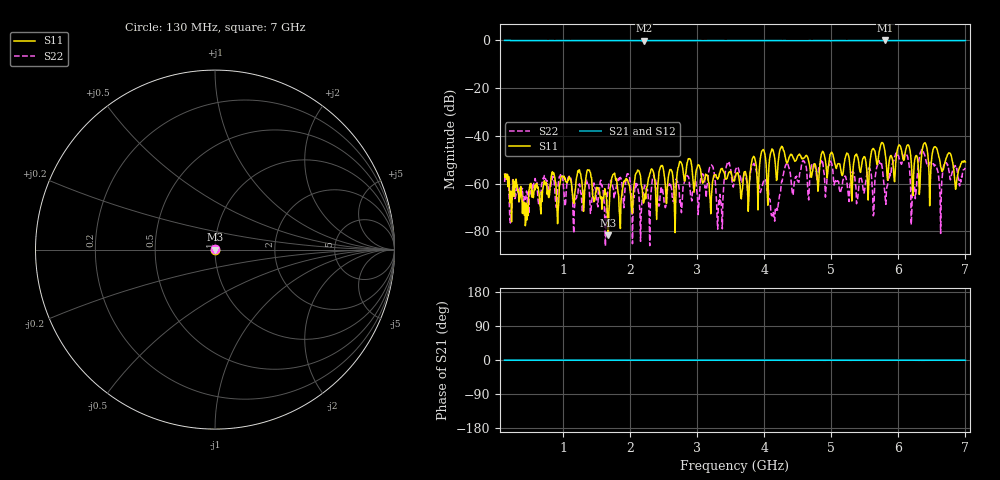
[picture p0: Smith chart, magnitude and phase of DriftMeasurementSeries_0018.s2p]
# Hz S RI R 50.000000
! Metas.Vna.Tools, 2.8.8664.20301
! Metas.Vna.Data, 2.8.8664.20285
! Created: UTC 2024.02.11 10:08:11
! FREQ  re:S1,1  im:S1,1  re:S2,1  im:S2,1  re:S1,2  im:S1,2  re:S2,2  im:S2,2
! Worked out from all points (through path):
!   801 points, 130 MHz to 7 GHz, reference 50 ohm
!   highest |S21| = 0.00 dB at 5.806 GHz (marker M1); lowest = -0.1 dB at 2.208 GHz (marker M2)
!   lowest |S11| = -81.5 dB at 1.676 GHz (marker M3), VSWR 1.00, Z = 50 + j0.00805 ohm
!   |S11| at or under -10 dB: start of sweep to end of sweep
!   |S22| runs from -86.1 to -45.7 dB; largest |S21 - S12| = 0.014
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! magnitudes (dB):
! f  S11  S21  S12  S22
! 130 MHz  -56.0  0.0  0.0  -59.2
! 447.7 MHz  -75.4  0.0  0.0  -65.6
! 851.4 MHz  -56.0  -0.1  0.0  -56.9
! 1.281 GHz  -58.6  0.0  0.0  -67.7
! 1.676 GHz  -81.5  0.0  0.0  -62.3
! 1.762 GHz  -55.9  -0.1  0.0  -66.2
! 2.208 GHz  -67.5  -0.1  0.0  -61.8
! 2.423 GHz  -58.4  -0.1  0.0  -69.1
! 2.887 GHz  -49.5  -0.1  0.0  -60.3
! 3.213 GHz  -65.7  -0.1  0.0  -52.1
! 3.342 GHz  -55.4  -0.1  0.0  -64.5
! 3.453 GHz  -56.9  -0.1  0.0  -51.0
! 3.565 GHz  -57.4  -0.1  0.0  -55.4
! 3.848 GHz  -48.6  -0.1  0.0  -51.4
! 4.14 GHz  -46.8  -0.1  0.0  -72.6
! 4.329 GHz  -50.7  -0.1  0.0  -51.8
! 4.716 GHz  -55.3  -0.1  0.0  -51.6
! 5.626 GHz  -45.2  -0.1  0.0  -73.4
! 5.72 GHz  -46.0  0.0  0.0  -51.4
! 5.806 GHz  -47.7  0.0  0.0  -66.8
! 5.858 GHz  -51.9  0.0  0.0  -57.2
! 7 GHz  -50.9  -0.1  0.0  -53.4
